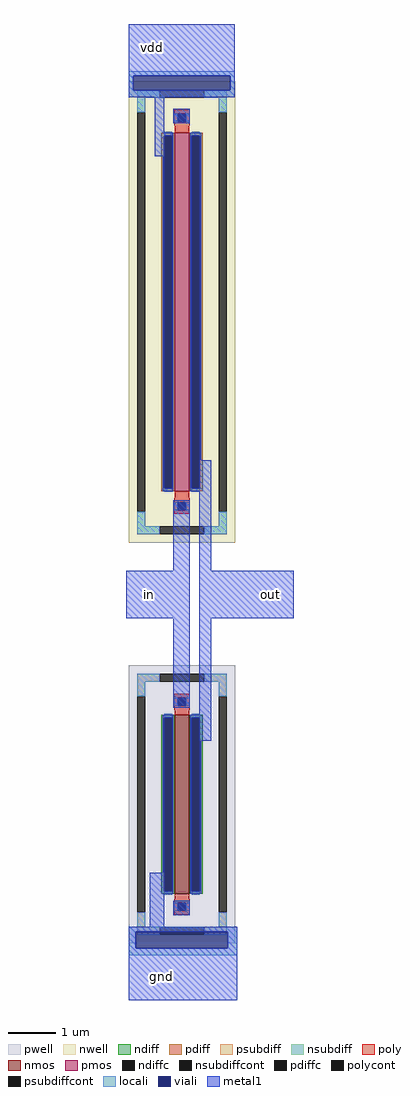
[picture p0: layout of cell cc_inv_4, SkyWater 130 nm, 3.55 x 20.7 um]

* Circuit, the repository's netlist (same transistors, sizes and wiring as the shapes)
* NGSPICE file created from cc_inv_4.ext - technology: sky130A

.subckt sky130_fd_pr__nfet_01v8_C4HEJZ a_n33_n468# a_n190_n554# a_30_n380# a_n88_n380#
X0 a_30_n380# a_n33_n468# a_n88_n380# a_n190_n554# sky130_fd_pr__nfet_01v8 ad=1.102 pd=8.18 as=1.102 ps=8.18 w=3.8 l=0.3
.ends

.subckt sky130_fd_pr__pfet_01v8_E6W7WZ a_30_n760# a_n88_n760# a_n33_n857# w_n226_n979#
X0 a_30_n760# a_n33_n857# a_n88_n760# w_n226_n979# sky130_fd_pr__pfet_01v8 ad=2.204 pd=15.78 as=2.204 ps=15.78 w=7.6 l=0.3
.ends

.subckt cc_inv_4 vdd in out gnd
XXM1 in gnd out gnd sky130_fd_pr__nfet_01v8_C4HEJZ
XXM2 out vdd in vdd sky130_fd_pr__pfet_01v8_E6W7WZ
.ends

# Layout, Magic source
magic
tech sky130A
magscale 1 2
<< locali >>
rect 780 1730 1230 1750
rect 780 1670 800 1730
rect 1210 1670 1230 1730
rect 780 1640 1230 1670
rect 780 -1900 1240 -1880
rect 780 -1970 810 -1900
rect 1200 -1970 1240 -1900
rect 780 -2000 1240 -1970
<< viali >>
rect 800 1670 1210 1730
rect 810 -1970 1200 -1900
<< metal1 >>
rect 780 1730 1230 1950
rect 780 1670 800 1730
rect 1210 1670 1230 1730
rect 780 1640 1230 1670
rect 890 1390 930 1640
rect 970 1530 1040 1590
rect 970 -370 1040 -70
rect 770 -570 1040 -370
rect 970 -950 1040 -570
rect 1080 -370 1130 100
rect 1080 -570 1480 -370
rect 1080 -1090 1130 -570
rect 870 -1880 930 -1650
rect 970 -1830 1040 -1770
rect 780 -1900 1240 -1880
rect 780 -1970 810 -1900
rect 1200 -1970 1240 -1900
rect 780 -2190 1240 -1970
use sky130_fd_pr__nfet_01v8_C4HEJZ  XM1
transform 1 0 1006 0 1 -1360
box -226 -590 226 590
use sky130_fd_pr__pfet_01v8_E6W7WZ  XM2
transform 1 0 1006 0 1 729
box -226 -979 226 979
<< labels >>
flabel metal1 770 -570 970 -370 0 FreeSans 256 0 0 0 in
port 1 nsew
flabel metal1 1280 -570 1480 -370 0 FreeSans 256 0 0 0 out
port 2 nsew
flabel metal1 820 -2190 1020 -1990 0 FreeSans 256 0 0 0 gnd
port 3 nsew
flabel metal1 780 1750 980 1950 0 FreeSans 256 0 0 0 vdd
port 0 nsew
<< end >>

# cell sky130_fd_pr__nfet_01v8_C4HEJZ: kit device sky130_fd_pr__nfet_01v8, w 3.8 l 0.3 m 1 nf 1 diffcov 100 polycov 100 guard 1 glc 1 grc 1 gtc 1 gbc 1 tbcov 100 rlcov 100 topc 1 botc 1 poverlap 0 doverlap 1 lmin 0.15 wmin 0.42 compatible {sky130_fd_pr__nfet_01v8 sky130_fd_pr__nfet_01v8_lvt sky130_fd_bs_flash__special_sonosfet_star sky130_fd_pr__nfet_g5v0d10v5 sky130_fd_pr__nfet_05v0_nvt sky130_fd_pr__nfet_03v3_nvt} full_metal 1 viasrc 100 viadrn 100 viagate 100 viagb 0 viagr 0 viagl 0 viagt 0

# cell sky130_fd_pr__pfet_01v8_E6W7WZ: kit device sky130_fd_pr__pfet_01v8, w 7.6 l 0.3 m 1 nf 1 diffcov 100 polycov 100 guard 1 glc 1 grc 1 gtc 1 gbc 1 tbcov 100 rlcov 100 topc 1 botc 1 poverlap 0 doverlap 1 lmin 0.15 wmin 0.42 compatible {sky130_fd_pr__pfet_01v8 sky130_fd_pr__pfet_01v8_lvt sky130_fd_pr__pfet_01v8_hvt sky130_fd_pr__pfet_g5v0d10v5} full_metal 1 viasrc 100 viadrn 100 viagate 100 viagb 0 viagr 0 viagl 0 viagt 0
